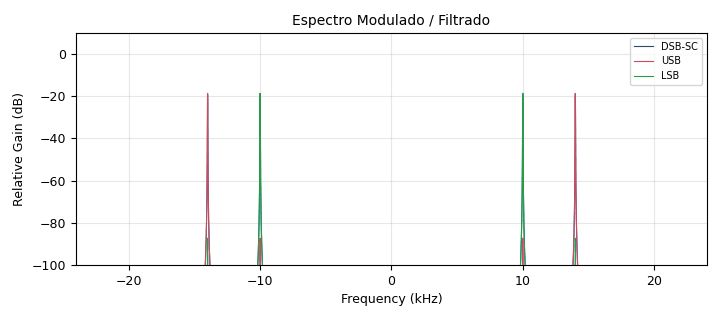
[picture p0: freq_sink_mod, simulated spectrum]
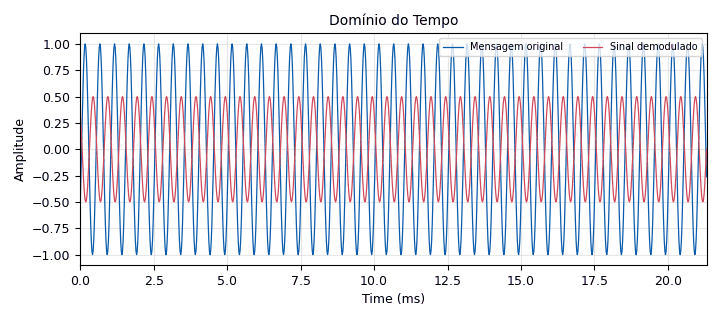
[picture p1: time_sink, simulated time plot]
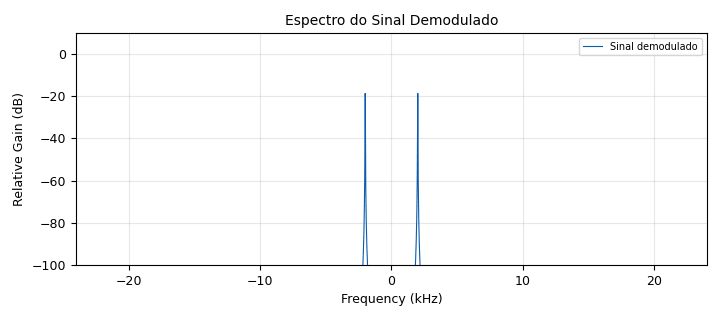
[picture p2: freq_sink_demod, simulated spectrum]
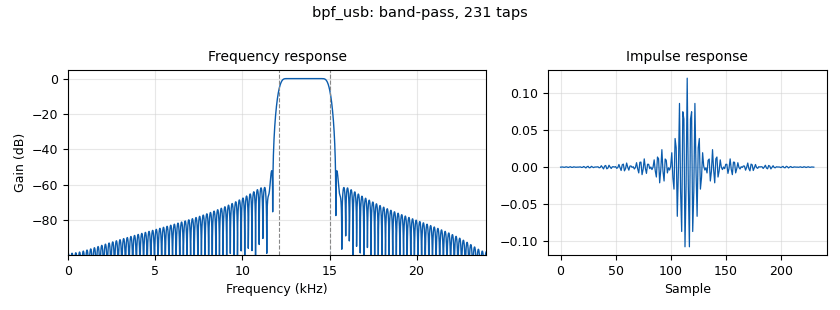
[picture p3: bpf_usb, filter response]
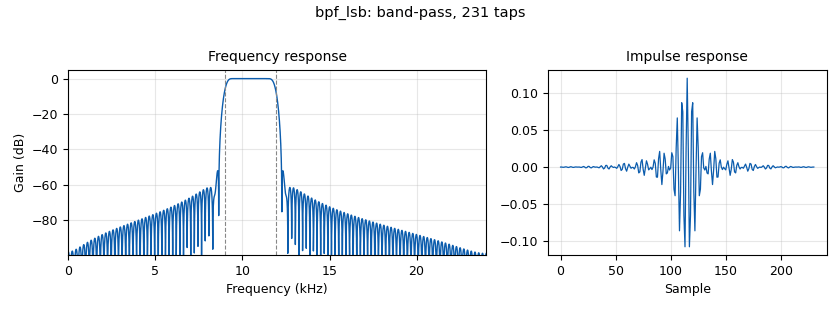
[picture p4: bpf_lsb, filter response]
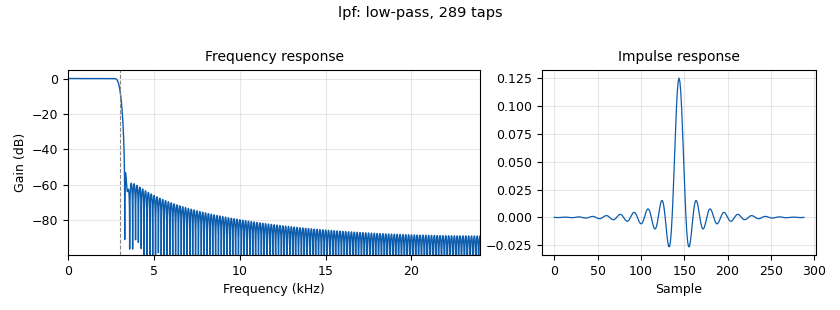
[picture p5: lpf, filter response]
options:
  parameters:
    author: Prof. Daniel Costa Araújo
    description: Prática 04 - Modulação SSB (Banda Lateral Única)
    generate_options: qt_gui
    id: pratica_04_ssb
    output_language: python
    title: Prática 04 - Modulação SSB (Banda Lateral Única)
  states: {}

blocks:
- name: samp_rate
  id: variable
  parameters:
    comment: Taxa de amostragem
    value: '48000'
  states: {}
- name: fc
  id: variable
  parameters:
    comment: Frequência da portadora
    value: '12000'
  states: {}
- name: fm
  id: variable_qtgui_range
  parameters:
    comment: Frequência da mensagem
    gui_hint: 0,0,1,2
    label: Frequência mensagem fm (Hz)
    start: '500'
    step: '500'
    stop: '5000'
    value: '2000'
  states: {}
- name: src_mensagem
  id: analog_sig_source_x
  parameters:
    amp: '1.0'
    comment: Sinal mensagem m(t)
    freq: fm
    offset: '0'
    phase: '0'
    samp_rate: samp_rate
    type: float
    waveform: analog.GR_COS_WAVE
  states: {}
- name: src_portadora
  id: analog_sig_source_x
  parameters:
    amp: '1.0'
    comment: Portadora c(t)
    freq: fc
    offset: '0'
    phase: '0'
    samp_rate: samp_rate
    type: float
    waveform: analog.GR_COS_WAVE
  states: {}
- name: src_local
  id: analog_sig_source_x
  parameters:
    amp: '2.0'
    comment: Oscilador local (demod) amp=2
    freq: fc
    offset: '0'
    phase: '0'
    samp_rate: samp_rate
    type: float
    waveform: analog.GR_COS_WAVE
  states: {}
- name: mult_mod
  id: blocks_multiply_xx
  parameters:
    comment: 'Modulação DSB-SC: m(t) × c(t)'
    type: float
  states: {}
- name: throttle
  id: blocks_throttle2
  parameters:
    samples_per_second: samp_rate
    type: float
  states: {}
- name: bpf_usb
  id: band_pass_filter
  parameters:
    comment: 'Filtro USB: seleciona banda lateral superior'
    decim: '1'
    gain: '1'
    high_cutoff_freq: fc+fm+1000
    low_cutoff_freq: fc+100
    samp_rate: samp_rate
    type: fir_filter_fff
    width: '500'
    win: window.WIN_HAMMING
  states: {}
- name: bpf_lsb
  id: band_pass_filter
  parameters:
    comment: 'Filtro LSB: seleciona banda lateral inferior'
    decim: '1'
    gain: '1'
    high_cutoff_freq: fc-100
    low_cutoff_freq: fc-fm-1000
    samp_rate: samp_rate
    type: fir_filter_fff
    width: '500'
    win: window.WIN_HAMMING
  states: {}
- name: mult_demod
  id: blocks_multiply_xx
  parameters:
    comment: 'Demodulação: USB × osc. local'
    type: float
  states: {}
- name: lpf
  id: low_pass_filter
  parameters:
    comment: Filtro passa-baixas para recuperar m(t)
    cutoff_freq: fm*1.5
    decim: '1'
    gain: '1'
    samp_rate: samp_rate
    type: fir_filter_fff
    width: '400'
    win: window.WIN_HAMMING
  states: {}
- name: freq_sink_mod
  id: qtgui_freq_sink_x
  parameters:
    bw: samp_rate
    fc: '0'
    fftsize: '4096'
    grid: 'True'
    gui_hint: 2,0,1,1
    label1: DSB-SC
    label2: USB
    label3: LSB
    name: '"Espectro Modulado / Filtrado"'
    nconnections: '3'
    type: float
    wintype: window.WIN_HANN
    ymin: '-100'
  states: {}
- name: time_sink
  id: qtgui_time_sink_x
  parameters:
    autoscale: 'True'
    grid: 'True'
    gui_hint: 2,1,1,1
    label1: Mensagem original
    label2: Sinal demodulado
    name: '"Domínio do Tempo"'
    nconnections: '2'
    size: '1024'
    srate: samp_rate
    type: float
    ymax: '1.5'
    ymin: '-1.5'
  states: {}
- name: freq_sink_demod
  id: qtgui_freq_sink_x
  parameters:
    bw: samp_rate
    fc: '0'
    fftsize: '4096'
    grid: 'True'
    gui_hint: 3,0,1,2
    label1: Sinal demodulado
    name: '"Espectro do Sinal Demodulado"'
    type: float
    wintype: window.WIN_HANN
    ymin: '-100'
  states: {}

connections:
- [src_mensagem, '0', mult_mod, '0']
- [src_portadora, '0', mult_mod, '1']
- [mult_mod, '0', throttle, '0']
- [throttle, '0', bpf_usb, '0']
- [throttle, '0', bpf_lsb, '0']
- [bpf_usb, '0', mult_demod, '0']
- [src_local, '0', mult_demod, '1']
- [mult_demod, '0', lpf, '0']
- [throttle, '0', freq_sink_mod, '0']
- [bpf_usb, '0', freq_sink_mod, '1']
- [bpf_lsb, '0', freq_sink_mod, '2']
- [src_mensagem, '0', time_sink, '0']
- [lpf, '0', time_sink, '1']
- [lpf, '0', freq_sink_demod, '0']

metadata:
  file_format: 1
  grc_version: 3.10.12.0
